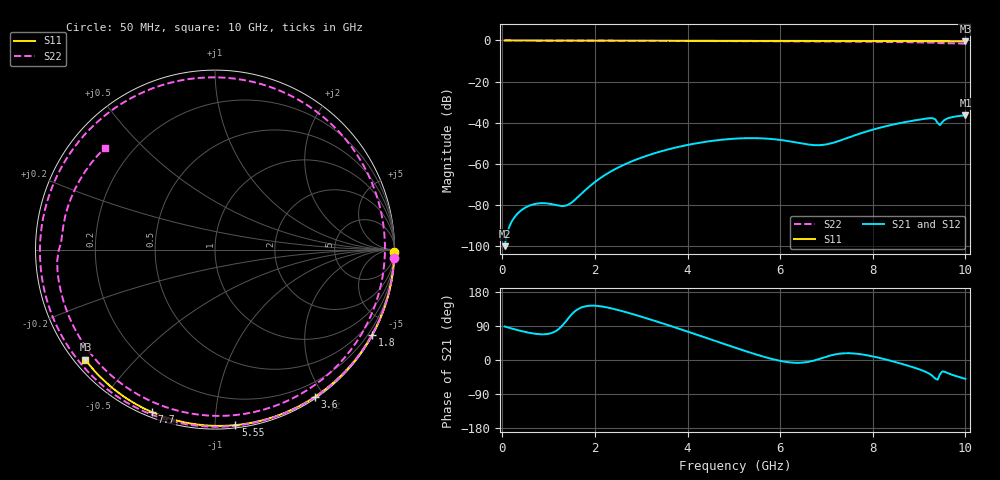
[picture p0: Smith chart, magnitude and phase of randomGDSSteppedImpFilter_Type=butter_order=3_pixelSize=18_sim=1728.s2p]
! freq	dB(S11)	phase(S11)	dB(S12)	phase(S12)
!  dB(S21)	phase(S21)	dB(S22)	phase(S22)
!S-par simulation data
#  GHz  S  DB  R 50
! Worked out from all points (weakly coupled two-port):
!   200 points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, 50 MHz to 10 GHz, reference 50 ohm
!   highest |S21| = -36.44 dB at 10 GHz (marker M1); lowest = -100.2 dB at 50 MHz (marker M2)
!   lowest |S11| = -0.5 dB at 10 GHz (marker M3), VSWR 36.93, Z = 1.54 - j18.4 ohm
!   |S11| at or under -10 dB: nowhere
!   |S22| runs from -1.6 to 0.0 dB; largest |S21 - S12| = 0
!   S11 on the Smith chart (normalised r, x): 50 MHz: open; 1.8 GHz: 0.03, -3.92; 3.6 GHz: 0.02, -1.88; 5.55 GHz: 0.02, -1.12; 7.7 GHz: 0.02, -0.68; 10 GHz: 0.03, -0.37
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0.05  -0.00 -0.8  -100.23 88.4  -100.23 88.4  -0.00 -2.7
0.65  -0.01 -10.5  -80.00 70.3  -80.00 70.3  -0.04 -34.5
1.4  -0.03 -22.4  -80.26 106.2  -80.26 106.2  -0.09 -72.8
1.75  -0.04 -27.9  -73.79 140.3  -73.79 140.3  -0.11 -89.9
1.8  -0.04 -28.7  -72.76 141.8  -72.76 141.8  -0.11 -92.3
2.55  -0.05 -40.2  -61.38 130.3  -61.38 130.3  -0.15 -127.4
3.4  -0.07 -53.0  -54.20 99.1  -54.20 99.1  -0.20 -166.6
3.6  -0.08 -55.9  -52.97 91.2  -52.97 91.2  -0.21 -176.0
4.3  -0.09 -66.1  -49.69 62.7  -49.69 62.7  -0.26 149.5
5.05  -0.12 -76.6  -47.81 31.7  -47.81 31.7  -0.33 108.2
5.55  -0.14 -83.4  -47.65 12.0  -47.65 12.0  -0.37 77.2
5.85  -0.15 -87.4  -48.08 1.9  -48.08 1.9  -0.40 57.3
6.2  -0.17 -92.1  -49.14 -6.1  -49.14 -6.1  -0.43 33.3
6.7  -0.19 -98.6  -50.94 -2.4  -50.94 -2.4  -0.48 -1.9
7.15  -0.22 -104.3  -49.82 13.9  -49.82 13.9  -0.52 -33.2
7.7  -0.25 -111.3  -45.56 15.9  -45.56 15.9  -0.60 -69.9
8.35  -0.31 -119.4  -41.43 -0.8  -41.43 -0.8  -0.75 -111.0
8.85  -0.35 -125.5  -39.16 -18.4  -39.16 -18.4  -0.90 -142.4
9.25  -0.39 -130.4  -37.86 -38.3  -37.86 -38.3  -1.03 -168.7
9.45  -0.40 -132.8  -41.24 -37.8  -41.24 -37.8  -1.33 177.2
9.6  -0.42 -134.7  -38.11 -33.5  -38.11 -33.5  -1.36 167.6
10  -0.47 -139.6  -36.44 -49.7  -36.44 -49.7  -1.56 137.3
